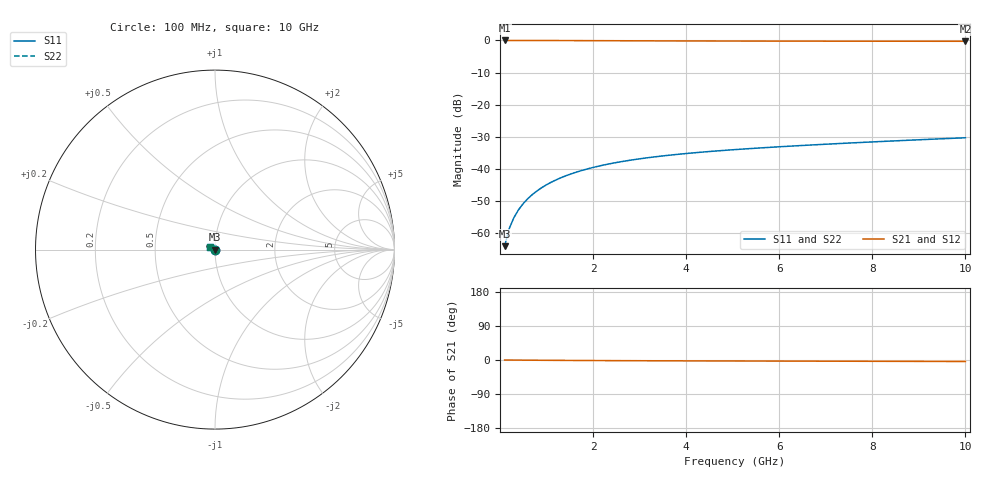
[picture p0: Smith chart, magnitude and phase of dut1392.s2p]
! Touchstone file exported from HFSS 2024.1.0
!  File:  C:/UserFiles/LocalFiles/RDL_TSV_Batchsim/temp_TSV1_1392_1780381403.aedt
!  Generated:  02:30:21 PM Jun  2, 2026
!  Design:  TSV1
!  Project:  temp_TSV1_1392_1780381403
!  Setup:  Setup1
!  Solution:  Sweep
! Variables:
!  dtsv = 6.96um
!  hbump = 3um
!  htsv = 56.59um
!  lrdl = 252.1521522um
!  p = 40
!  p1 = 51.42um
!  t = 500um
!  trdl = 3um
!  wrdl = 24.89489489um
# GHz S MA R 50.000000
! Terminal data exported
! Port[1] = TSV22_T1
! Port[2] = TSV22_T2
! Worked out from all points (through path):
!   100 points, 100 MHz to 10 GHz, reference 50 ohm
!   highest |S21| = 0.00 dB at 100 MHz (marker M1); lowest = -0.3 dB at 10 GHz (marker M2)
!   lowest |S11| = -64.1 dB at 100 MHz (marker M3), VSWR 1.00, Z = 50 - j0.0583 ohm
!   |S11| at or under -10 dB: start of sweep to end of sweep
!   |S22| runs from -64.1 to -30.3 dB; largest |S21 - S12| = 4.3e-15
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0.1  0.0006222 -69.4  0.9997 -0.1  0.9997 -0.1  0.0006222 -69.4
! Gamma 0 0 0 0
! Port Impedance 50 0 50 0
0.2  0.001171 -82.7  0.9997 -0.2  0.9997 -0.2  0.001171 -82.7
0.3  0.001735 -88.9  0.9995 -0.3  0.9995 -0.3  0.001735 -88.9
0.4  0.002302 -93.2  0.9994 -0.3  0.9994 -0.3  0.002302 -93.2
0.5  0.002868 -96.6  0.9991 -0.4  0.9991 -0.4  0.002868 -96.6
0.6  0.003431 -99.7  0.9989 -0.5  0.9989 -0.5  0.003431 -99.7
0.7  0.003991 -102.4  0.9986 -0.6  0.9986 -0.6  0.00399 -102.4
0.8  0.004544 -105.0  0.9982 -0.7  0.9982 -0.7  0.004544 -105.0
0.9  0.005092 -107.5  0.9979 -0.7  0.9979 -0.7  0.005092 -107.4
1.1  0.006162 -112.1  0.9971 -0.9  0.9971 -0.9  0.006162 -112.1
1.4  0.007698 -118.6  0.9957 -1.1  0.9957 -1.1  0.007698 -118.6
1.6  0.008671 -122.8  0.9947 -1.2  0.9947 -1.2  0.008671 -122.8
1.8  0.009599 -126.7  0.9936 -1.3  0.9936 -1.3  0.009599 -126.7
2.1  0.01091 -132.4  0.992 -1.5  0.992 -1.5  0.01091 -132.4
2.5  0.01251 -139.5  0.9898 -1.7  0.9898 -1.7  0.01251 -139.5
2.9  0.01395 -146.0  0.9876 -1.9  0.9876 -1.9  0.01395 -146.0
3.4  0.01557 -153.5  0.9852 -2.1  0.9852 -2.1  0.01557 -153.5
4.2  0.01782 -164.1  0.9818 -2.3  0.9818 -2.3  0.01782 -164.1
5.1  0.02002 -174.3  0.9788 -2.6  0.9788 -2.6  0.02002 -174.3
6.7  0.02351 171.1  0.9749 -3.1  0.9749 -3.1  0.02351 171.1
8.4  0.02705 159.1  0.9723 -3.5  0.9723 -3.5  0.02705 159.1
10  0.03044 150.1  0.9705 -4.0  0.9705 -4.0  0.03044 150.1
